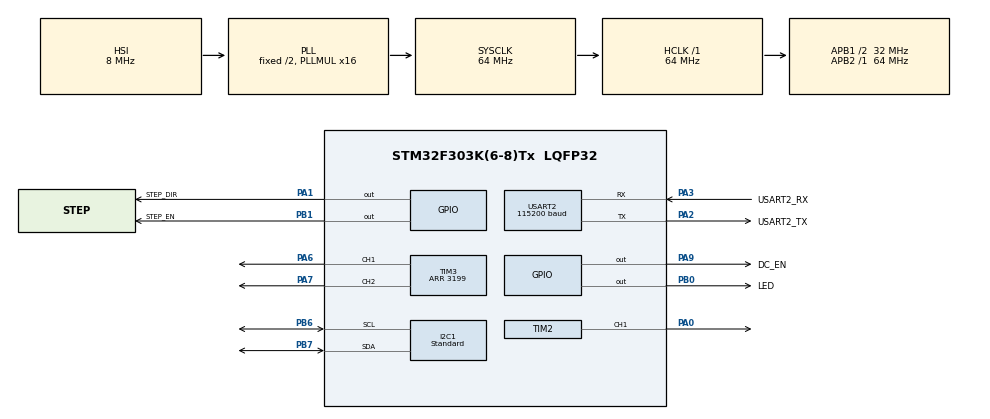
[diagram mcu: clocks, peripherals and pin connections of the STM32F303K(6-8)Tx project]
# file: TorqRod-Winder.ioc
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I2C1.I2C_Speed_Mode=I2C_Standard
I2C1.Speed=100
I2C1.Timing=0x00201D2B
Mcu.Family=STM32F3
Mcu.Name=STM32F303K(6-8)Tx
Mcu.Package=LQFP32
NVIC.PriorityGroup=NVIC_PRIORITYGROUP_4
NVIC.TIM2_IRQn=true\:1\:0\:true\:false\:true\:true\:true\:true
NVIC.USART2_IRQn=true\:3\:0\:true\:false\:true\:true\:true\:true
PA0.Signal=S_TIM2_CH1_ETR
PA1.GPIO_Label=STEP_DIR
PA1.GPIO_PuPd=GPIO_PULLUP
PA1.Signal=GPIO_Output
PA13.GPIO_Label=SWDIO
PA13.Mode=Serial_Wire
PA13.Signal=SYS_JTMS-SWDIO
PA14.GPIO_Label=SWCLK
PA14.Mode=Serial_Wire
PA14.Signal=SYS_JTCK-SWCLK
PA2.GPIO_Label=USART2_TX
PA2.Mode=Asynchronous
PA2.Signal=USART2_TX
PA3.GPIO_Label=USART2_RX
PA3.Mode=Asynchronous
PA3.Signal=USART2_RX
PA6.GPIO_Speed=GPIO_SPEED_FREQ_HIGH
PA6.Signal=S_TIM3_CH1
PA7.GPIO_Speed=GPIO_SPEED_FREQ_HIGH
PA7.Signal=S_TIM3_CH2
PA9.GPIO_Label=DC_EN
PA9.GPIO_Speed=GPIO_SPEED_FREQ_HIGH
PA9.PinState=GPIO_PIN_RESET
PA9.Signal=GPIO_Output
PB0.GPIO_Label=LED
PB0.Signal=GPIO_Output
PB1.GPIO_Label=STEP_EN
PB1.GPIO_PuPd=GPIO_NOPULL
PB1.PinState=GPIO_PIN_SET
PB1.Signal=GPIO_Output
PB6.GPIO_FM6=__NULL
PB6.GPIO_Pu=GPIO_NOPULL
PB6.Mode=I2C
PB6.Signal=I2C1_SCL
PB7.GPIO_FM7=__NULL
PB7.GPIO_Pu=GPIO_NOPULL
PB7.Mode=I2C
PB7.Signal=I2C1_SDA
PF0\ /\ OSC_IN.GPIO_Label=MCO
PF0\ /\ OSC_IN.Mode=HSE-External-Oscillator
PF0\ /\ OSC_IN.Signal=RCC_OSC_IN
PF1\ /\ OSC_OUT.Mode=HSE-External-Oscillator
PF1\ /\ OSC_OUT.Signal=RCC_OSC_OUT
ProjectManager.HeapSize=0x200
ProjectManager.StackSize=0x400
ProjectManager.TargetToolchain=STM32CubeIDE
RCC.AHBFreq_Value=64000000
RCC.APB1CLKDivider=RCC_HCLK_DIV2
RCC.APB1Freq_Value=32000000
RCC.APB1TimFreq_Value=64000000
RCC.APB2Freq_Value=64000000
RCC.APB2TimFreq_Value=64000000
RCC.CortexFreq_Value=64000000
RCC.HCLKFreq_Value=64000000
RCC.HSE_VALUE=8000000
RCC.HSI_VALUE=8000000
RCC.PLLMUL=RCC_PLL_MUL16
RCC.SYSCLKFreq_VALUE=64000000
RCC.SYSCLKSourceVirtual=RCC_SYSCLKSOURCE_PLLCLK
SH.S_TIM2_CH1_ETR.0=TIM2_CH1,PWM Generation1 CH1
SH.S_TIM3_CH1.0=TIM3_CH1,PWM Generation1 CH1
SH.S_TIM3_CH2.0=TIM3_CH2,PWM Generation2 CH2
TIM2.AutoReloadPreload=TIM_AUTORELOAD_PRELOAD_ENABLE
TIM2.Channel-PWM\ Generation1\ CH1=TIM_CHANNEL_1
TIM2.Period=999
TIM2.Prescaler=64
TIM2.Pulse-PWM\ Generation1\ CH1=499
TIM3.Channel-PWM\ Generation1\ CH1=TIM_CHANNEL_1
TIM3.Channel-PWM\ Generation2\ CH2=TIM_CHANNEL_2
TIM3.Period=3199
USART2.BaudRate=115200
USART2.VirtualMode-Asynchronous=VM_ASYNC
VP_TIM3_VS_ClockSourceINT.Mode=Internal
board=NUCLEO-F303K8

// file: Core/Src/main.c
/* USER CODE BEGIN Header */
/**
  ******************************************************************************
  * @file           : main.c
  * @brief          : Main program body
  ******************************************************************************
  * @attention
  *
  * Copyright (c) 2026 STMicroelectronics.
  * All rights reserved.
  *
  * This software is licensed under terms that can be found in the LICENSE file
  * in the root directory of this software component.
  * If no LICENSE file comes with this software, it is provided AS-IS.
  *
  ******************************************************************************
  */
/* USER CODE END Header */
#include "main.h"
#include "i2c.h"
#include "tim.h"
#include "usart.h"
#include "gpio.h"

/* USER CODE BEGIN Includes */
#include <stdio.h>
#include "stepper.h"
#include "dc_motor.h"
#include "as5600.h"
/* USER CODE END Includes */

/* USER CODE BEGIN PD */
Stepper_Handle_t hstepper;
DCMotor_Handle_t hdcmotor;
AS5600_Handle_t has5600;
/* USER CODE END PD */

void SystemClock_Config(void);
/* USER CODE BEGIN PFP */
#define PUTCHAR_PROTOTYPE int __io_putchar(int ch)
/* USER CODE END PFP */

int main(void)
{

  /* MCU Configuration--------------------------------------------------------*/

  /* Reset of all peripherals, Initializes the Flash interface and the Systick. */
  HAL_Init();

  /* Configure the system clock */
  SystemClock_Config();

  /* Initialize all configured peripherals */
  MX_GPIO_Init();

  I2C_BusRecovery();

  MX_I2C1_Init();
  MX_TIM2_Init();
  MX_TIM3_Init();
  MX_USART2_UART_Init();
  /* USER CODE BEGIN 2 */
  /* USER CODE BEGIN 3 */

  /* USER CODE END 3 */
//  stepperTest();
//    dcMotorTest();
  uint8_t test[] = "Hello\r\n";
  HAL_UART_Transmit(&huart2, test, sizeof(test), HAL_MAX_DELAY);
  AS5600_Test();

  /* USER CODE END 2 */

  /* Infinite loop */
  while (1)
  {

  }
}

void SystemClock_Config(void)
{
  RCC_OscInitTypeDef RCC_OscInitStruct = {0};
  RCC_ClkInitTypeDef RCC_ClkInitStruct = {0};
  RCC_PeriphCLKInitTypeDef PeriphClkInit = {0};

  /** Initializes the RCC Oscillators according to the specified parameters
  * in the RCC_OscInitTypeDef structure.
  */
  RCC_OscInitStruct.OscillatorType = RCC_OSCILLATORTYPE_HSI;
  RCC_OscInitStruct.HSIState = RCC_HSI_ON;
  RCC_OscInitStruct.HSICalibrationValue = RCC_HSICALIBRATION_DEFAULT;
  RCC_OscInitStruct.PLL.PLLState = RCC_PLL_ON;
  RCC_OscInitStruct.PLL.PLLSource = RCC_PLLSOURCE_HSI;
  RCC_OscInitStruct.PLL.PLLMUL = RCC_PLL_MUL16;
  if (HAL_RCC_OscConfig(&RCC_OscInitStruct) != HAL_OK)
  {
    Error_Handler();
  }

  /** Initializes the CPU, AHB and APB buses clocks
  */
  RCC_ClkInitStruct.ClockType = RCC_CLOCKTYPE_HCLK|RCC_CLOCKTYPE_SYSCLK
                              |RCC_CLOCKTYPE_PCLK1|RCC_CLOCKTYPE_PCLK2;
  RCC_ClkInitStruct.SYSCLKSource = RCC_SYSCLKSOURCE_PLLCLK;
  RCC_ClkInitStruct.AHBCLKDivider = RCC_SYSCLK_DIV1;
  RCC_ClkInitStruct.APB1CLKDivider = RCC_HCLK_DIV2;
  RCC_ClkInitStruct.APB2CLKDivider = RCC_HCLK_DIV1;

  if (HAL_RCC_ClockConfig(&RCC_ClkInitStruct, FLASH_LATENCY_2) != HAL_OK)
  {
    Error_Handler();
  }
  PeriphClkInit.PeriphClockSelection = RCC_PERIPHCLK_I2C1;
  PeriphClkInit.I2c1ClockSelection = RCC_I2C1CLKSOURCE_HSI;
  if (HAL_RCCEx_PeriphCLKConfig(&PeriphClkInit) != HAL_OK)
  {
    Error_Handler();
  }
}

/* USER CODE BEGIN 4 */
void stepperTest(void)
{
  /* Initialize stepper: motor disabled, timer stopped */
  Stepper_Init(&hstepper, &htim2, TIM_CHANNEL_1);

  /* Enable motor */
  Stepper_SetDir(&hstepper, STEPPER_DIR_FORWARD);
  Stepper_Enable(&hstepper);

  /* Incrementally test speeds from 0.1 to 1.5 rad/s in 0.05 rad/s steps */
  /* Hold each speed for 2 seconds to observe behavior */
  for (float omega = 0.1f; omega <= 1.5f; omega += 0.05f) {
    Stepper_SetSpeed(&hstepper, omega);
    HAL_Delay(2000);  /* 2 seconds per speed */
  }

  /* Done */
  Stepper_Stop(&hstepper);
  Stepper_Disable(&hstepper);
}

void dcMotorTest(void)
{
  DCMotor_Handle_t spool_motor;
  // Initialize with BOTH PWM channels
  DCMotor_Init(&spool_motor, &htim3, TIM_CHANNEL_1, TIM_CHANNEL_2);

  // Forward 3V for 5s
  DCMotor_SetVoltage(&spool_motor, 8.0f);
  HAL_Delay(5000);

  // Reverse 2V for 5s
  DCMotor_SetVoltage(&spool_motor, -6.0f);
  HAL_Delay(5000);

  // Coast (free-wheel) for 10s
  DCMotor_Coast(&spool_motor);
  HAL_Delay(10000);
}

void AS5600_Test(void) {
    uint8_t reg = AS5600_REG_ZMCO;
    uint8_t rx_data = 0;
    HAL_StatusTypeDef status;
    AS5600_Status_t mag_status;
    uint16_t mag_buf;

    // 1. Give the sensor time to boot up
    HAL_Delay(50);

    // 2. Check if the device is ready (acks the address)
    // status = HAL_I2C_IsDeviceReady(&hi2c1, AS5600_I2C_ADDR, 3, 1000);
//    if (status != HAL_OK) {
        // Print or debug: "Device Not Ready! Error: %d", status
//        return;
//    }

    // 3. Try reading the ZMCO register (should be 0x00, 0x01, 0x02, or 0x03)
//    status = HAL_I2C_Mem_Read(&hi2c1, AS5600_I2C_ADDR, reg, I2C_MEMADD_SIZE_8BIT, &rx_data, 1, 1000);

    // 4. Initialize AS5600
    mag_status =  AS5600_Init(&has5600, &hi2c1);
    if(!mag_status){
    	printf("Init complete. \r\n");
    }else{
    	printf("ERROR. Magnet status: %d \r\n", mag_status);
    }

    mag_status = AS5600_CalibrateZero(&has5600);
    if(!mag_status){
    	printf("Zero calibrated. \r\n");
    }else{
        printf("ERROR. Magnet status: %d \r\n", mag_status);
    }

    while(1){
    	mag_status = AS5600_ReadRaw(&has5600, &mag_buf);
    	if(!mag_status){
    	    printf("Raw reading: %d \r\n", mag_buf);
    	}else{
    	    printf("ERROR. Magnet status: %d \r\n", mag_status);
    	}
    	HAL_Delay(100);
    }

}

// This overrides the weak __io_putchar inside syscalls.c
int __io_putchar(uint8_t ch)
{
    HAL_UART_Transmit(&huart2, (uint8_t *)&ch, 1, HAL_MAX_DELAY);
    return ch;
}

/* USER CODE END 4 */

void Error_Handler(void)
{
  __disable_irq();
 while (1)
 {
 }
}
